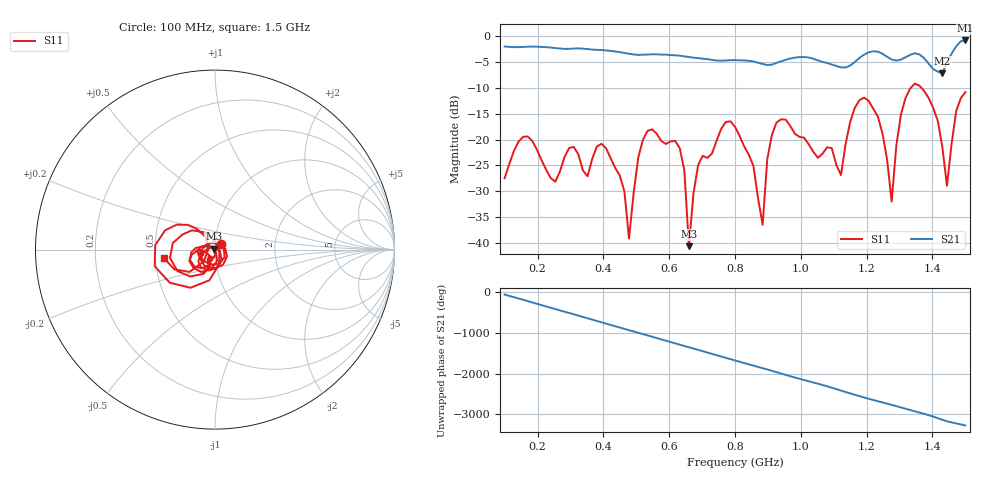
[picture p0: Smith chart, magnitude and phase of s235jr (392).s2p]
! NanoVNA-App
! Date: 2025-09-25 15:07:13
! Start: 100MHz Stop: 1,5GHz Points: 101
! S-Parameter data: F S11 S21 S12 S22
# Hz S RI R 50
!  Frequency  S11_Real  S11_Imag  S21_Real  S21_Imag  S12_Real  S12_Imag  S22_Real  S22_Imag
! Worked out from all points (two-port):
!   101 points, 100 MHz to 1.5 GHz, reference 50 ohm
!   highest |S21| = -0.79 dB at 1.5 GHz (marker M1); lowest = -7.1 dB at 1.43 GHz (marker M2)
!   |S21| within 3 dB of the highest: start of sweep to 637.7 MHz; 1.187 GHz to 1.258 GHz (71.87 MHz wide, 5.88 % of centre) (the widest 2 of 4)
!   lowest |S11| = -40.6 dB at 660 MHz (marker M3), VSWR 1.02, Z = 49.3 + j0.567 ohm
!   |S11| at or under -10 dB: start of sweep to 1.334 GHz; 1.367 GHz to end of sweep
!   S12 and S22 are empty: the file has one direction only
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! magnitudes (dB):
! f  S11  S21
! 100 MHz  -27.5  -2.0
! 156 MHz  -19.5  -2.0
! 338 MHz  -26.0  -2.4
! 408 MHz  -21.6  -2.7
! 478 MHz  -39.1  -3.4
! 520 MHz  -20.1  -3.6
! 576 MHz  -20.3  -3.5
! 632 MHz  -21.6  -3.7
! 660 MHz  -40.6  -4.0
! 688 MHz  -24.9  -4.2
! 800 MHz  -17.5  -4.6
! 884 MHz  -36.5  -5.3
! 926 MHz  -16.7  -5.1
! 1.038 GHz  -22.4  -4.3
! 1.122 GHz  -26.9  -6.0
! 1.192 GHz  -11.9  -3.6
! 1.248 GHz  -18.8  -3.4
! 1.276 GHz  -32.0  -4.5
! 1.332 GHz  -10.1  -3.6
! 1.43 GHz  -21.4  -7.1
! 1.444 GHz  -28.9  -5.0
! 1.5 GHz  -10.8  -0.8
